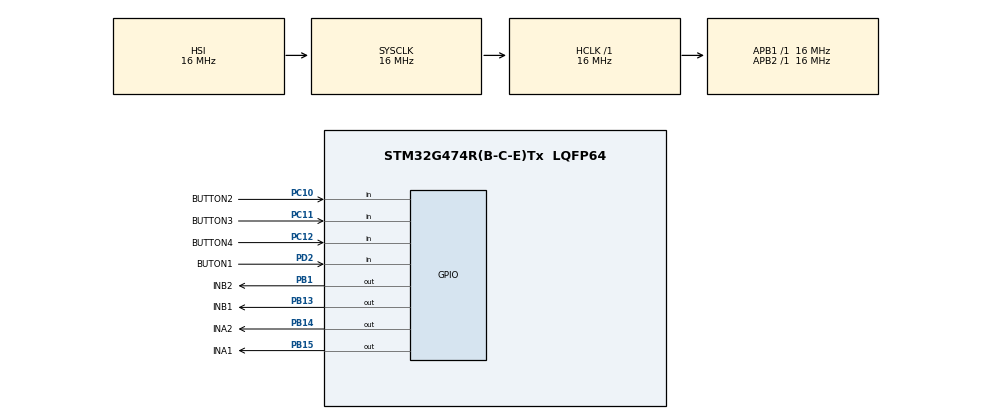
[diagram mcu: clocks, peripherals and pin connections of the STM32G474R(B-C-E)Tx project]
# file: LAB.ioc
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FREERTOS.Tasks01=TASK1,24,128,StartDefaultTask,Default,NULL,Dynamic,NULL,NULL;Task02,8,128,StartTask02,Default,NULL,Dynamic,NULL,NULL;myTask03,8,128,StartTask03,Default,NULL,Dynamic,NULL,NULL
FREERTOS.configTOTAL_HEAP_SIZE=32758
Mcu.Family=STM32G4
Mcu.Name=STM32G474R(B-C-E)Tx
Mcu.Package=LQFP64
NVIC.PriorityGroup=NVIC_PRIORITYGROUP_4
PB1.GPIO_Label=INB2
PB1.Signal=GPIO_Output
PB13.GPIO_Label=INB1
PB13.Signal=GPIO_Output
PB14.GPIO_Label=INA2
PB14.Signal=GPIO_Output
PB15.GPIO_Label=INA1
PB15.Signal=GPIO_Output
PC10.GPIO_Label=BUTTON2
PC10.GPIO_PuPd=GPIO_PULLUP
PC10.Signal=GPIO_Input
PC11.GPIO_Label=BUTTON3
PC11.GPIO_PuPd=GPIO_PULLUP
PC11.Signal=GPIO_Input
PC12.GPIO_Label=BUTTON4
PC12.GPIO_PuPd=GPIO_PULLUP
PC12.Signal=GPIO_Input
PD2.GPIO_Label=BUTON1
PD2.GPIO_PuPd=GPIO_PULLUP
PD2.Signal=GPIO_Input
ProjectManager.HeapSize=0x200
ProjectManager.StackSize=0x400
ProjectManager.TargetToolchain=STM32CubeIDE
RCC.AHBFreq_Value=16000000
RCC.APB1Freq_Value=16000000
RCC.APB1TimFreq_Value=16000000
RCC.APB2Freq_Value=16000000
RCC.APB2TimFreq_Value=16000000
RCC.CortexFreq_Value=16000000
RCC.EXTERNAL_CLOCK_VALUE=12288000
RCC.HCLKFreq_Value=16000000
RCC.HSE_VALUE=8000000
RCC.HSI48_VALUE=48000000
RCC.HSI_VALUE=16000000
RCC.LSE_VALUE=32768
RCC.SYSCLKFreq_VALUE=16000000
RCC.USBFreq_Value=64000000
RCC.VCOOutputFreq_Value=128000000
VP_FREERTOS_VS_CMSIS_V2.Mode=CMSIS_V2
VP_SYS_VS_DBSignals.Mode=DisableDeadBatterySignals
board=custom

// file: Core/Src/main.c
/* USER CODE BEGIN Header */
/**
  ******************************************************************************
  * @file           : main.c
  * @brief          : Main program body
  ******************************************************************************
  * @attention
  *
  * Copyright (c) 2024 STMicroelectronics.
  * All rights reserved.
  *
  * This software is licensed under terms that can be found in the LICENSE file
  * in the root directory of this software component.
  * If no LICENSE file comes with this software, it is provided AS-IS.
  *
  ******************************************************************************
  */
/* USER CODE END Header */
#include "main.h"
#include "cmsis_os.h"

/* Definitions for TASK1 */
osThreadId_t TASK1Handle;
const osThreadAttr_t TASK1_attributes = {
  .name = "TASK1",
  .priority = (osPriority_t) osPriorityNormal,
  .stack_size = 128 * 4
};
/* Definitions for Task02 */
osThreadId_t Task02Handle;
const osThreadAttr_t Task02_attributes = {
  .name = "Task02",
  .priority = (osPriority_t) osPriorityLow,
  .stack_size = 128 * 4
};
/* Definitions for myTask03 */
osThreadId_t myTask03Handle;
const osThreadAttr_t myTask03_attributes = {
  .name = "myTask03",
  .priority = (osPriority_t) osPriorityLow,
  .stack_size = 128 * 4
};

void SystemClock_Config(void);
static void MX_GPIO_Init(void);
void StartDefaultTask(void *argument);
void StartTask02(void *argument);
void StartTask03(void *argument);

int main(void)
{

  /* MCU Configuration--------------------------------------------------------*/

  /* Reset of all peripherals, Initializes the Flash interface and the Systick. */
  HAL_Init();

  /* Configure the system clock */
  SystemClock_Config();

  /* Initialize all configured peripherals */
  MX_GPIO_Init();

  /* Init scheduler */
  osKernelInitialize();

  /* Create the thread(s) */
  /* creation of TASK1 */
  TASK1Handle = osThreadNew(StartDefaultTask, NULL, &TASK1_attributes);

  /* creation of Task02 */
  Task02Handle = osThreadNew(StartTask02, NULL, &Task02_attributes);

  /* creation of myTask03 */
  myTask03Handle = osThreadNew(StartTask03, NULL, &myTask03_attributes);

  /* Start scheduler */
  osKernelStart();

  /* We should never get here as control is now taken by the scheduler */

  /* Infinite loop */
  while (1)
  {

  }
}

void SystemClock_Config(void)
{
  RCC_OscInitTypeDef RCC_OscInitStruct = {0};
  RCC_ClkInitTypeDef RCC_ClkInitStruct = {0};

  /** Configure the main internal regulator output voltage
  */
  HAL_PWREx_ControlVoltageScaling(PWR_REGULATOR_VOLTAGE_SCALE1);

  /** Initializes the RCC Oscillators according to the specified parameters
  * in the RCC_OscInitTypeDef structure.
  */
  RCC_OscInitStruct.OscillatorType = RCC_OSCILLATORTYPE_HSI;
  RCC_OscInitStruct.HSIState = RCC_HSI_ON;
  RCC_OscInitStruct.HSICalibrationValue = RCC_HSICALIBRATION_DEFAULT;
  RCC_OscInitStruct.PLL.PLLState = RCC_PLL_NONE;
  if (HAL_RCC_OscConfig(&RCC_OscInitStruct) != HAL_OK)
  {
    Error_Handler();
  }

  /** Initializes the CPU, AHB and APB buses clocks
  */
  RCC_ClkInitStruct.ClockType = RCC_CLOCKTYPE_HCLK|RCC_CLOCKTYPE_SYSCLK
                              |RCC_CLOCKTYPE_PCLK1|RCC_CLOCKTYPE_PCLK2;
  RCC_ClkInitStruct.SYSCLKSource = RCC_SYSCLKSOURCE_HSI;
  RCC_ClkInitStruct.AHBCLKDivider = RCC_SYSCLK_DIV1;
  RCC_ClkInitStruct.APB1CLKDivider = RCC_HCLK_DIV1;
  RCC_ClkInitStruct.APB2CLKDivider = RCC_HCLK_DIV1;

  if (HAL_RCC_ClockConfig(&RCC_ClkInitStruct, FLASH_LATENCY_0) != HAL_OK)
  {
    Error_Handler();
  }
}

static void MX_GPIO_Init(void)
{
  GPIO_InitTypeDef GPIO_InitStruct = {0};

  /* GPIO Ports Clock Enable */
  __HAL_RCC_GPIOB_CLK_ENABLE();
  __HAL_RCC_GPIOC_CLK_ENABLE();
  __HAL_RCC_GPIOD_CLK_ENABLE();

  /*Configure GPIO pin Output Level */
  HAL_GPIO_WritePin(GPIOB, INB2_Pin|INB1_Pin|INA2_Pin|INA1_Pin, GPIO_PIN_RESET);

  /*Configure GPIO pins : INB2_Pin INB1_Pin INA2_Pin INA1_Pin */
  GPIO_InitStruct.Pin = INB2_Pin|INB1_Pin|INA2_Pin|INA1_Pin;
  GPIO_InitStruct.Mode = GPIO_MODE_OUTPUT_PP;
  GPIO_InitStruct.Pull = GPIO_NOPULL;
  GPIO_InitStruct.Speed = GPIO_SPEED_FREQ_LOW;
  HAL_GPIO_Init(GPIOB, &GPIO_InitStruct);

  /*Configure GPIO pins : BUTTON2_Pin BUTTON3_Pin BUTTON4_Pin */
  GPIO_InitStruct.Pin = BUTTON2_Pin|BUTTON3_Pin|BUTTON4_Pin;
  GPIO_InitStruct.Mode = GPIO_MODE_INPUT;
  GPIO_InitStruct.Pull = GPIO_PULLUP;
  HAL_GPIO_Init(GPIOC, &GPIO_InitStruct);

  /*Configure GPIO pin : BUTON1_Pin */
  GPIO_InitStruct.Pin = BUTON1_Pin;
  GPIO_InitStruct.Mode = GPIO_MODE_INPUT;
  GPIO_InitStruct.Pull = GPIO_PULLUP;
  HAL_GPIO_Init(BUTON1_GPIO_Port, &GPIO_InitStruct);

}

/* USER CODE BEGIN Header_StartDefaultTask */
/**
  * @brief  Function implementing the TASK1 thread.
  * @param  argument: Not used
  * @retval None
  */
	//type name = value
	uint8_t button1State = 0;
	uint8_t button2State = 0;
	uint8_t button3State = 0;
	uint8_t button4State = 0;
/* USER CODE END Header_StartDefaultTask */
void StartDefaultTask(void *argument)
{
  for(;;)
  {
	  osDelay(1);
  }
}

void StartTask02(void *argument)
{
  /* USER CODE BEGIN StartTask02*/
  /* Infinite loop */
  for(;;)
  {
	  button1State = HAL_GPIO_ReadPin(BUTON1_GPIO_Port, BUTON1_Pin);
	  button3State = HAL_GPIO_ReadPin(BUTTON3_GPIO_Port, BUTTON3_Pin);
	  button2State = HAL_GPIO_ReadPin(BUTTON2_GPIO_Port, BUTTON2_Pin);
	  button4State = HAL_GPIO_ReadPin(BUTTON4_GPIO_Port, BUTTON4_Pin);

    osDelay(10);
  }
  /* USER CODE END StartTask02 */
}

void StartTask03(void *argument)
{
  /* USER CODE BEGIN StartTask03 */
  /* Infinite loop */
  for(;;)
  {

	  if(button1State == GPIO_PIN_RESET)
	   {
		  HAL_GPIO_WritePin(INB1_GPIO_Port, INB1_Pin, GPIO_PIN_RESET);
		  HAL_GPIO_WritePin(INB2_GPIO_Port, INB2_Pin, GPIO_PIN_RESET);
		  HAL_GPIO_WritePin(INA1_GPIO_Port, INA1_Pin, GPIO_PIN_SET);
		  HAL_GPIO_WritePin(INA2_GPIO_Port, INA2_Pin, GPIO_PIN_RESET);
	   }
	  else if (button2State == GPIO_PIN_RESET)
	   {
		  HAL_GPIO_WritePin(INB1_GPIO_Port, INB1_Pin, GPIO_PIN_RESET);
		  HAL_GPIO_WritePin(INB2_GPIO_Port, INB2_Pin, GPIO_PIN_RESET);
		  HAL_GPIO_WritePin(INA1_GPIO_Port, INA1_Pin, GPIO_PIN_RESET);
		  HAL_GPIO_WritePin(INA2_GPIO_Port, INA2_Pin, GPIO_PIN_SET);
	    }
	  else if (button3State == GPIO_PIN_RESET)
	  	{
		  HAL_GPIO_WritePin(INA1_GPIO_Port, INA1_Pin, GPIO_PIN_RESET);
	  	  HAL_GPIO_WritePin(INA2_GPIO_Port, INA2_Pin, GPIO_PIN_RESET);
	  	  HAL_GPIO_WritePin(INB1_GPIO_Port, INB1_Pin, GPIO_PIN_SET);
	  	  HAL_GPIO_WritePin(INB2_GPIO_Port, INB2_Pin, GPIO_PIN_RESET);

	  	}
	  else if (button4State == GPIO_PIN_RESET)
	 	{
	 	  HAL_GPIO_WritePin(INA1_GPIO_Port, INA1_Pin, GPIO_PIN_RESET);
	 	  HAL_GPIO_WritePin(INA2_GPIO_Port, INA2_Pin, GPIO_PIN_RESET);
	 	  HAL_GPIO_WritePin(INB1_GPIO_Port, INB1_Pin, GPIO_PIN_RESET);
	 	  HAL_GPIO_WritePin(INB2_GPIO_Port, INB2_Pin, GPIO_PIN_SET);

	 	}
	  else
	    {
		  HAL_GPIO_WritePin(INA1_GPIO_Port, INA1_Pin, GPIO_PIN_RESET);
	  	  HAL_GPIO_WritePin(INA2_GPIO_Port, INA2_Pin, GPIO_PIN_RESET);
	  	  HAL_GPIO_WritePin(INB1_GPIO_Port, INB1_Pin, GPIO_PIN_RESET);
	  	  HAL_GPIO_WritePin(INB2_GPIO_Port, INB2_Pin, GPIO_PIN_RESET);

	    }

    osDelay(100);
  }
  /* USER CODE END StartTask03 */
}

void Error_Handler(void)
{
  __disable_irq();
  while (1)
  {
  }
}
